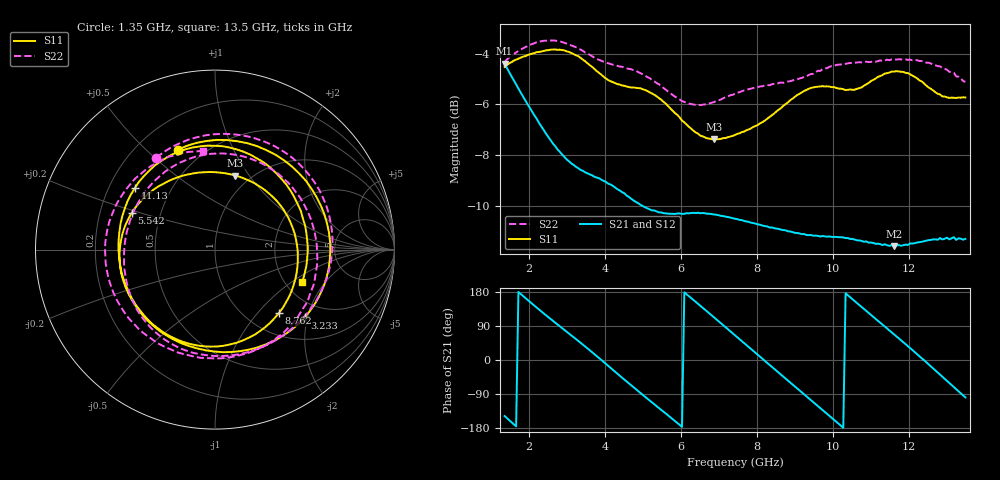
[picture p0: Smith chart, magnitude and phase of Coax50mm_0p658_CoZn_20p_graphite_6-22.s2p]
!Agilent Technologies,N5230C,MY48100320,A.08.04.10
!Agilent N5230C: A.08.04.10
!Date: Tuesday, August 23, 2016 04:09:44
!Correction: S11(Full 2 Port(1,2))
!S21(Full 2 Port(1,2))
!S12(Full 2 Port(1,2))
!S22(Full 2 Port(1,2))
!S2P File: Measurements: S11, S21, S12, S22:
# Hz S  dB  R 50
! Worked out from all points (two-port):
!   201 points, 1.35 GHz to 13.5 GHz, reference 50 ohm
!   highest |S21| = -4.40 dB at 1.35 GHz (marker M1); lowest = -11.6 dB at 11.62 GHz (marker M2)
!   |S21| within 3 dB of the highest: start of sweep to 2.56 GHz
!   lowest |S11| = -7.4 dB at 6.878 GHz (marker M3), VSWR 2.50, Z = 42.8 + j43.2 ohm
!   |S11| at or under -10 dB: nowhere
!   |S22| runs from -6.0 to -3.5 dB; largest |S21 - S12| = 0.0015
!   S11 on the Smith chart (normalised r, x): 1.35 GHz: 0.37, +0.63; 3.233 GHz: 1.54, -1.92; 5.542 GHz: 0.34, +0.19; 8.762 GHz: 1.38, -1.31; 11.13 GHz: 0.31, +0.31; 13.5 GHz: 2.44, -1.22
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1.35027e9  -4.53 110.4  -4.40 -147.8  -4.41 -147.8  -4.33 122.5
1.836259e9  -4.12 68.0  -5.69 168.9  -5.71 168.9  -3.79 86.1
2.382997e9  -3.89 22.3  -7.01 122.8  -7.02 122.8  -3.50 49.6
3.233478e9  -4.07 -37.1  -8.46 55.1  -8.46 55.1  -3.75 -6.4
3.415724e9  -4.24 -49.4  -8.62 40.5  -8.63 40.5  -3.90 -18.8
3.901713e9  -4.83 -85.4  -8.96 0.0  -8.97 0.0  -4.29 -51.8
4.387702e9  -5.22 -124.8  -9.39 -41.6  -9.40 -41.6  -4.51 -83.7
4.873692e9  -5.36 -161.7  -9.89 -82.3  -9.92 -82.4  -4.73 -112.6
5.42043e9  -5.75 163.4  -10.25 -126.8  -10.24 -126.9  -5.21 -142.0
5.541927e9  -5.90 156.3  -10.28 -136.6  -10.28 -136.7  -5.35 -148.4
6.210162e9  -6.88 117.0  -10.29 168.4  -10.29 168.3  -5.97 174.9
6.878397e9  -7.37 74.5  -10.33 111.9  -10.36 111.8  -5.90 136.2
7.425135e9  -7.20 41.1  -10.50 65.3  -10.53 65.2  -5.58 105.7
8.09337e9  -6.74 -0.3  -10.74 7.9  -10.77 7.9  -5.29 69.6
8.761605e9  -5.99 -44.9  -10.96 -49.4  -10.99 -49.4  -5.11 31.9
9.490589e9  -5.33 -92.6  -11.17 -111.5  -11.20 -111.4  -4.80 -12.8
1.040182e10  -5.42 -160.4  -11.26 170.7  -11.28 170.8  -4.38 -67.7
1.11308e10  -4.98 142.2  -11.49 108.8  -11.51 108.9  -4.32 -113.4
1.149529e10  -4.74 117.5  -11.57 77.9  -11.59 78.1  -4.26 -137.3
1.161679e10  -4.71 109.8  -11.58 67.8  -11.60 68.0  -4.23 -145.2
1.240652e10  -5.17 56.3  -11.39 -0.2  -11.39 -0.0  -4.31 164.6
1.35e10  -5.73 -20.7  -11.29 -98.8  -11.30 -98.7  -5.11 97.1
